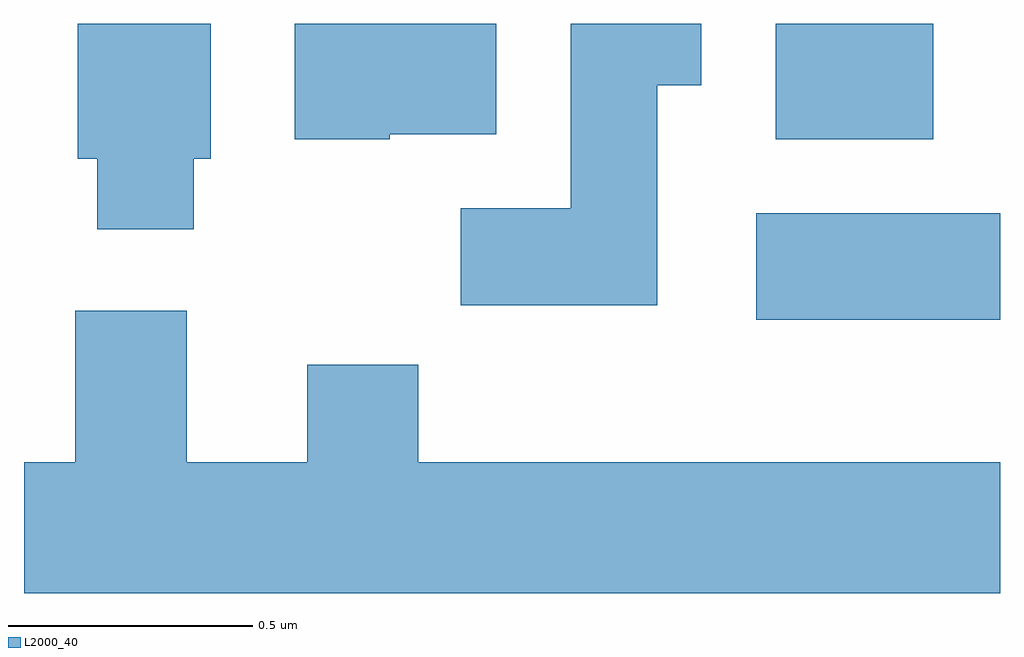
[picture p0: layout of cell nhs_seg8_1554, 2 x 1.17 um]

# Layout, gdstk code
import gdstk
lib = gdstk.Library(unit=1e-6, precision=1e-09)
def R(c, l, rs):  # rectangles x0, y0, x1, y1
    for r in rs: c.add(gdstk.rectangle(r[:2], r[2:], *l))
def P(c, l, *ps):  # polygons
    for p in ps: c.add(gdstk.Polygon(p, *l))
L2000_40 = (2000, 40)

nhs_seg8_1554 = lib.new_cell('nhs_seg8_1554')
R(nhs_seg8_1554, L2000_40, [(198.111,1854.736,198.611,1854.954), (198.151,1855.106,198.474,1855.342)])
P(nhs_seg8_1554, L2000_40, [(197.909,1855.216),(197.999,1855.216),(197.999,1855.342),(197.731,1855.342),(197.731,1854.964),(197.506,1854.964),(197.506,1854.766),(197.909,1854.766)],
  [(197.36,1855.116),(197.579,1855.116),(197.579,1855.342),(197.166,1855.342),(197.166,1855.106),(197.36,1855.106)],
  [(196.959,1855.066),(196.994,1855.066),(196.994,1855.342),(196.721,1855.342),(196.721,1855.066),(196.761,1855.066),(196.761,1854.921),(196.959,1854.921)],
  [(198.611,1854.444),(197.419,1854.444),(197.419,1854.644),(197.191,1854.644),(197.191,1854.444),(196.944,1854.444),(196.944,1854.754),(196.716,1854.754),(196.716,1854.444),(196.611,1854.444),(196.611,1854.176),(198.611,1854.176)])

lib.write_gds('nhs_seg8_1554.gds')
